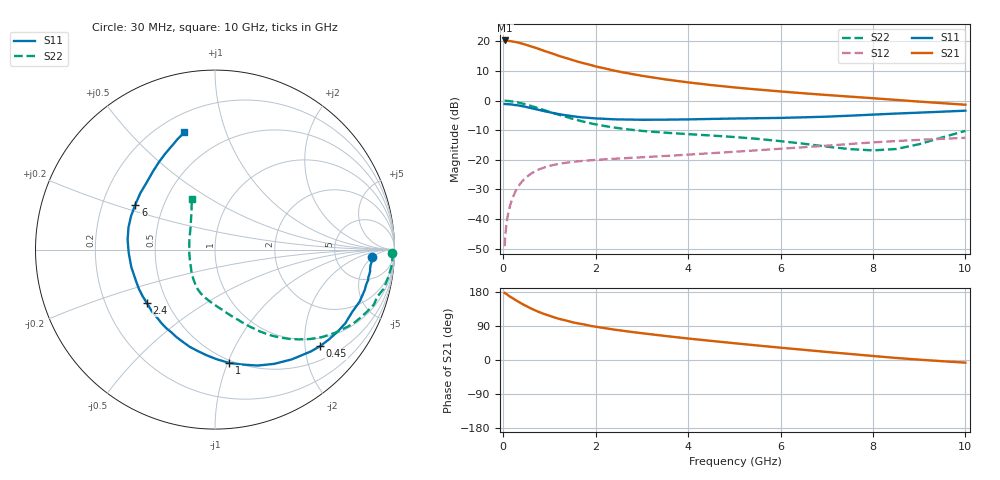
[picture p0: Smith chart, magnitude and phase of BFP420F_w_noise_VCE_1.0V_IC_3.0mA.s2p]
! Infineon Technologies  Discrete & RF Semiconductors
! BFP420F
! VCE =  1.0 V,  IC =  3.0 mA
! Common Emitter S-Parameters:  Sep 2011
# GHz  S  MA  R  50
!  f  S11  S21  S12  S22
! GHz  MAG  ANG  MAG  ANG  MAG  ANG  MAG  ANG
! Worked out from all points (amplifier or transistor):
!   54 points, 30 MHz to 10 GHz, reference 50 ohm
!   highest |S21| = 20.3 dB at 40 MHz (marker M1)
!   |S21| within 3 dB of that: start of sweep to 795.4 MHz
!   unconditionally stable (mu >= 1): 2.347 GHz to end of sweep
!   at 120 MHz: K = 0.06, MSG = 28.8 dB, |S12| = -37.3 dB
!   at 1.3 GHz: K = 0.55, MSG = 17.9 dB, |S12| = -21.1 dB
!   at 10 GHz: K = 1.50, MAG = 1.4 dB, |S12| = -12.6 dB
!   lowest NFmin = 0.85 dB at 450 MHz
!   S11 on the Smith chart (normalised r, x): 30 MHz: 14, -5; 450 MHz: 0.80, -2.33; 1 GHz: 0.48, -1.01; 2.4 GHz: 0.39, -0.30; 6 GHz: 0.34, +0.23; 10 GHz: 0.30, +0.73
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0.03  0.8771 -2.7  10.31 177.1  0.0035 88.1  0.988 -1.0
0.04  0.8763 -3.5  10.33 176.2  0.0046 87.9  0.9909 -1.6
0.1  0.8679 -10.3  10.26 171.2  0.0116 84.4  0.9845 -6.5
0.25  0.8398 -24.4  9.759 159.5  0.0277 75.9  0.9407 -16.3
0.35  0.8222 -33.8  9.391 152.3  0.0379 70.7  0.9165 -22.0
0.45  0.7952 -42.6  8.945 145.4  0.0469 66.0  0.8786 -27.4
0.6  0.7465 -55.0  8.196 136.0  0.0583 59.3  0.8122 -34.9
0.7  0.717 -62.6  7.764 130.5  0.0649 55.6  0.7698 -39.3
0.8  0.6884 -69.8  7.289 125.3  0.0703 52.2  0.7267 -43.3
1  0.6366 -82.8  6.444 116.7  0.079 46.7  0.6467 -50.3
1.2  0.5915 -94.3  5.69 108.9  0.0854 42.3  0.5775 -56.3
1.3  0.5737 -99.5  5.379 105.9  0.0879 40.6  0.5472 -58.8
1.5  0.5439 -109.4  4.829 99.6  0.0922 37.6  0.4929 -63.5
1.7  0.521 -117.9  4.345 94.9  0.0956 35.5  0.4478 -67.8
1.9  0.5071 -125.9  3.97 89.8  0.0985 33.9  0.4118 -71.8
2.4  0.4824 -141.8  3.198 80.2  0.1044 31.1  0.3509 -80.9
3.5  0.4763 -168.1  2.281 63.5  0.1162 29.6  0.2874 -96.6
5.5  0.5038 158.1  1.537 38.3  0.1451 28.7  0.226 -118.5
6  0.51 150.5  1.425 32.5  0.154 28.1  0.2068 -125.0
7  0.5351 134.9  1.242 21.3  0.1735 26.2  0.167 -143.5
8.5  0.6037 117.1  1.026 5.4  0.2077 20.5  0.1523 159.7
10  0.6755 104.6  0.851 -7.0  0.2353 13.6  0.3081 114.7
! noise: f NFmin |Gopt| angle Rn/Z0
0.45  0.85  0.4  15  0.19
0.9  0.9  0.38  35  0.21
1.9  1.14  0.29  89  0.16
2.4  1.25  0.29  101  0.16
3.5  1.61  0.32  139  0.17
